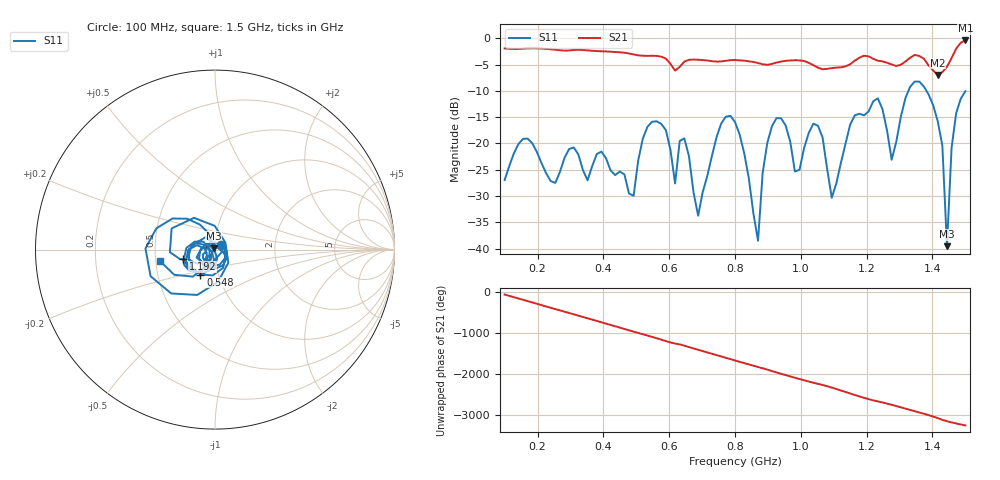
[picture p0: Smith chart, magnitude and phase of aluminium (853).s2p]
! NanoVNA-App
! Date: 2025-09-25 15:01:55
! Start: 100MHz Stop: 1,5GHz Points: 101
! S-Parameter data: F S11 S21 S12 S22
# Hz S RI R 50
!  Frequency  S11_Real  S11_Imag  S21_Real  S21_Imag  S12_Real  S12_Imag  S22_Real  S22_Imag
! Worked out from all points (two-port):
!   101 points, 100 MHz to 1.5 GHz, reference 50 ohm
!   highest |S21| = -0.40 dB at 1.5 GHz (marker M1); lowest = -7.0 dB at 1.416 GHz (marker M2)
!   |S21| within 3 dB of the highest: start of sweep to 568 MHz; 1.461 GHz to end of sweep (the widest 2 of 4)
!   lowest |S11| = -39.5 dB at 1.444 GHz (marker M3), VSWR 1.02, Z = 49.3 + j0.809 ohm
!   |S11| at or under -10 dB: start of sweep to 1.327 GHz; 1.382 GHz to end of sweep
!   S12 and S22 are empty: the file has one direction only
!   S11 on the Smith chart (normalised r, x): 100 MHz: 1.07, +0.06; 548 MHz: 0.82, -0.23; 1.192 GHz: 0.70, -0.08; 1.5 GHz: 0.53, -0.07
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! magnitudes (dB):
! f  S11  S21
! 100 MHz  -27.0  -1.9
! 338 MHz  -25.1  -2.2
! 492 MHz  -29.9  -3.1
! 548 MHz  -15.9  -3.3
! 576 MHz  -16.3  -3.5
! 618 MHz  -27.6  -6.2
! 646 MHz  -19.0  -4.4
! 688 MHz  -33.7  -4.1
! 800 MHz  -15.9  -4.1
! 870 MHz  -38.5  -4.7
! 912 MHz  -16.8  -4.9
! 982 MHz  -25.3  -4.2
! 1.038 GHz  -16.2  -5.1
! 1.094 GHz  -30.3  -5.7
! 1.192 GHz  -14.7  -3.3
! 1.234 GHz  -11.4  -4.3
! 1.276 GHz  -23.1  -5.0
! 1.346 GHz  -8.2  -3.2
! 1.416 GHz  -15.8  -7.0
! 1.444 GHz  -39.5  -5.4
! 1.458 GHz  -20.9  -3.8
! 1.5 GHz  -10.1  -0.4
